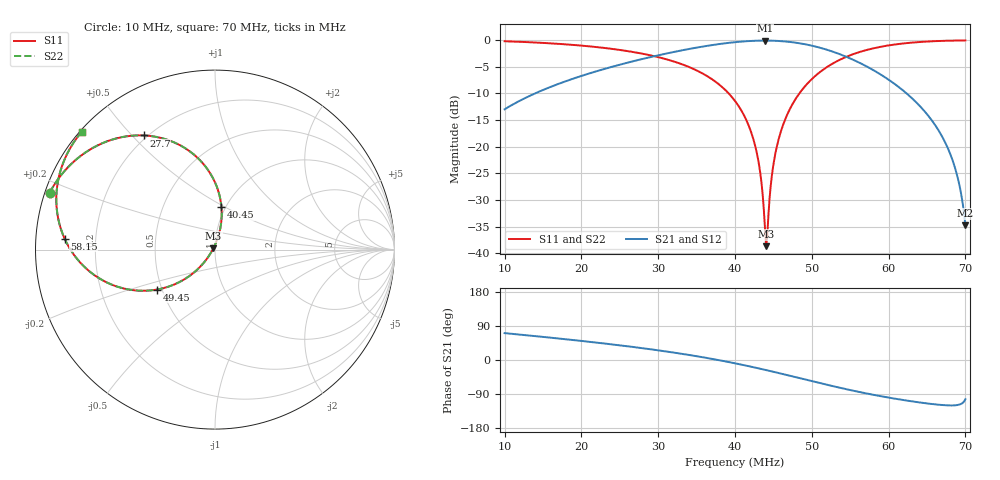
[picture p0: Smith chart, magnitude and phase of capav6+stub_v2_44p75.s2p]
! Touchstone file exported from HFSS 2025.2.0
!  File:  C:/Users/32474/OneDrive - UCL/Documents/Ingenieur/MASTER1/Stage/HFSS/capav6+stub.aedt
!  Generated:  06:57:30 PM Jul 17, 2026
!  Design:  HFSSDesign1
!  Project:  capav6+stub
!  Setup:  Setup4
!  Solution:  Sweep
# GHz S MA R 50.000000
! Terminal data exported
! Port[1] = capa_44p75_v2_1_1
! Port[2] = capa_44p75_v2_1_2
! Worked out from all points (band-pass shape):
!   401 points, 10 MHz to 70 MHz, reference 50 ohm
!   highest |S21| = -0.10 dB at 43.9 MHz (marker M1); lowest = -34.7 dB at 70 MHz (marker M2)
!   |S21| within 3 dB of the highest: 29.27 MHz to 54.42 MHz (25.15 MHz wide, 60.1 % of centre)
!   lowest |S11| = -38.7 dB at 44.05 MHz (marker M3), VSWR 1.02, Z = 49.1 + j0.681 ohm
!   |S11| at or under -10 dB: 39.17 MHz to 48.39 MHz (9.223 MHz wide, 21.1 % of centre)
!   |S22| runs from -38.8 to -0.1 dB; largest |S21 - S12| = 7.5e-15
!   S11 on the Smith chart (normalised r, x): 10 MHz: 0.01, +0.17; 27.7 MHz: 0.19, +0.54; 40.45 MHz: 0.95, +0.48; 49.45 MHz: 0.47, -0.25; 58.15 MHz: 0.09, +0.04; 70 MHz: 0.01, +0.38
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0.01  0.9744 161.0  0.224 70.9  0.224 70.9  0.9744 161.0
! Gamma 4.28390168174299E-05 0.209627451813306 4.35794229614104E-05 0.209628232568157
! Port Impedance 50 0 50 0
0.02005  0.8862 140.3  0.4618 50.2  0.4618 50.2  0.8862 140.3
0.0277  0.7505 122.1  0.658 31.8  0.658 31.8  0.7505 122.0
0.0301  0.6884 115.6  0.7218 25.3  0.7218 25.3  0.6884 115.5
0.0361  0.4712 97.0  0.8761 6.2  0.8761 6.2  0.4712 96.9
0.04  0.2682 83.1  0.9551 -8.7  0.9551 -8.7  0.2682 83.0
0.04045  0.2413 81.5  0.9619 -10.6  0.9619 -10.6  0.2413 81.4
0.0427  0.09671 75.8  0.985 -20.4  0.985 -20.4  0.0967 75.7
0.0433  0.05594 78.1  0.9877 -23.1  0.9877 -23.1  0.05592 78.0
0.0439  0.01702 105.9  0.9886 -25.9  0.9886 -25.9  0.01696 105.6
0.04405  0.01164 143.4  0.9885 -26.6  0.9885 -26.6  0.01155 143.3
0.04435  0.02272 -149.0  0.9881 -28.0  0.9881 -28.0  0.02267 -148.9
0.04495  0.06409 -131.9  0.9857 -30.8  0.9857 -30.8  0.06407 -131.8
0.04585  0.1296 -131.0  0.9785 -35.2  0.9785 -35.2  0.1296 -131.0
0.04945  0.3919 -145.4  0.9035 -53.0  0.9035 -53.0  0.3919 -145.4
0.05005  0.4334 -148.2  0.8841 -56.0  0.8841 -56.0  0.4334 -148.3
0.05365  0.653 -165.1  0.7365 -73.2  0.7365 -73.2  0.653 -165.1
0.05815  0.8404 175.8  0.5153 -92.3  0.5153 -92.3  0.8404 175.8
0.0601  0.8929 168.5  0.4199 -99.6  0.4199 -99.6  0.8929 168.4
0.067  0.9824 146.5  0.1232 -118.9  0.1232 -118.9  0.9824 146.5
0.0688  0.9892 141.7  0.05797 -119.3  0.05797 -119.3  0.9892 141.7
0.07  0.9912 138.6  0.01832 -103.4  0.01832 -103.4  0.9912 138.6
